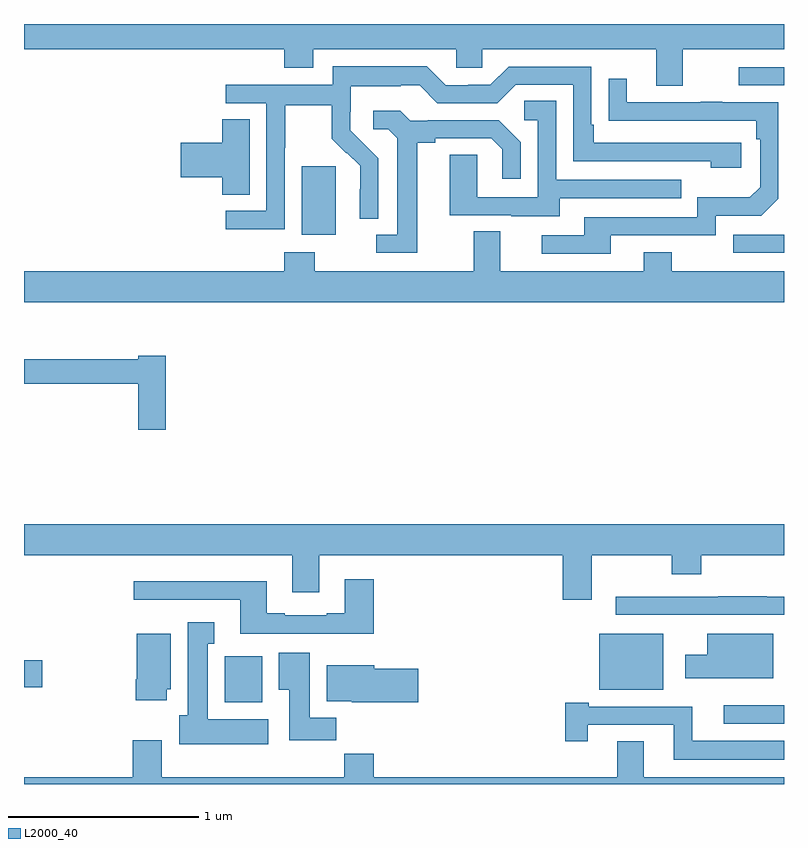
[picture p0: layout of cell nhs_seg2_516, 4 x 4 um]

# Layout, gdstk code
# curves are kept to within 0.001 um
import gdstk
lib = gdstk.Library(unit=1e-6, precision=1e-09)
def R(c, l, rs):  # rectangles x0, y0, x1, y1
    for r in rs: c.add(gdstk.rectangle(r[:2], r[2:], *l))
def P(c, l, *ps):  # polygons
    for p in ps: c.add(gdstk.Polygon(p, *l))
L2000_40 = (2000, 40)

nhs_seg2_516 = lib.new_cell('nhs_seg2_516')
R(nhs_seg2_516, L2000_40, [(140.682,612.117,141,612.214), (138.056,612.23,138.253,612.472), (140.027,612.296,140.365,612.592), (137,612.31,137.095,612.452), (140.733,614.595,141,614.691), (138.461,614.69,138.64,615.051), (140.763,615.477,141,615.573)])
P(nhs_seg2_516, L2000_40, [(137,615.668),(138.371,615.668),(138.371,615.569),(138.523,615.569),(138.523,615.668),(139.275,615.668),(139.275,615.57),(139.413,615.57),(139.413,615.668),(140.327,615.668),(140.327,615.474),(140.467,615.474),(140.467,615.668),(141,615.668),(141,615.8),(137,615.8)],
  [(138.372,615.148),(138.375,615.148),(138.375,615.372),(138.619,615.372),(138.619,615.197),(138.696,615.12),(138.699,615.123),(138.77,615.053),(138.77,614.93),(138.768,614.93),(138.768,614.776),(138.864,614.776),(138.864,615.094),(138.718,615.242),(138.718,615.339),(138.72,615.339),(138.72,615.473),(138.983,615.473),(138.983,615.477),(139.083,615.477),(139.176,615.384),(139.491,615.384),(139.587,615.48),(139.89,615.48),(139.89,615.078),(140.615,615.078),(140.615,615.044),(140.776,615.044),(140.776,615.174),(139.999,615.174),(139.999,615.271),(139.986,615.271),(139.986,615.576),(139.551,615.576),(139.455,615.48),(139.337,615.48),(139.337,615.477),(139.221,615.477),(139.121,615.577),(138.624,615.577),(138.624,615.48),(138.063,615.48),(138.063,615.384),(138.276,615.384),(138.276,614.817),(138.063,614.817),(138.063,614.719),(138.372,614.719)],
  [(140.089,614.688),(140.64,614.688),(140.64,614.79),(140.88,614.79),(140.97,614.88),(140.97,615.387),(140.675,615.387),(140.675,615.392),(140.563,615.392),(140.563,615.387),(140.173,615.387),(140.173,615.511),(140.077,615.511),(140.077,615.292),(140.854,615.291),(140.854,615.194),(140.874,615.194),(140.874,614.94),(140.821,614.887),(140.544,614.887),(140.544,614.784),(139.949,614.784),(139.949,614.688),(139.725,614.688),(139.725,614.592),(140.089,614.592)],
  [(139.819,614.883),(140.459,614.883),(140.459,614.979),(139.8,614.979),(139.8,615.395),(139.632,615.395),(139.632,615.294),(139.704,615.294),(139.704,614.889),(139.386,614.889),(139.386,615.113),(139.241,615.113),(139.241,614.793),(139.565,614.793),(139.565,614.789),(139.819,614.789)],
  [(139.069,615.176),(139.165,615.176),(139.165,615.198),(139.46,615.198),(139.517,615.141),(139.517,614.985),(139.614,614.985),(139.614,615.178),(139.498,615.294),(139.126,615.294),(139.126,615.291),(139.032,615.291),(138.98,615.343),(138.837,615.343),(138.837,615.246),(138.918,615.246),(138.965,615.199),(138.965,614.691),(138.855,614.691),(138.855,614.595),(139.069,614.595)],
  [(138.187,615.299),(138.044,615.299),(138.044,615.176),(137.826,615.176),(137.826,614.993),(138.044,614.993),(138.044,614.902),(138.187,614.902)],
  [(141,614.5),(140.409,614.5),(140.409,614.599),(140.261,614.599),(140.261,614.5),(139.507,614.5),(139.507,614.708),(139.367,614.708),(139.367,614.5),(138.531,614.5),(138.531,614.599),(138.371,614.599),(138.371,614.5),(137,614.5),(137,614.336),(141,614.336)],
  [(137.747,614.053),(137.6,614.053),(137.6,614.035),(137,614.035),(137,613.906),(137.6,613.906),(137.6,613.665),(137.747,613.665)],
  [(139.987,613.004),(140.41,613.004),(140.41,612.905),(140.565,612.905),(140.565,613.004),(141,613.004),(141,613.168),(137,613.168),(137,613.004),(138.413,613.004),(138.413,612.81),(138.553,612.81),(138.553,613.004),(139.835,613.004),(139.835,612.771),(139.987,612.771)],
  [(138.842,612.877),(138.689,612.877),(138.689,612.7),(138.593,612.7),(138.593,612.687),(138.373,612.687),(138.373,612.7),(138.277,612.7),(138.277,612.868),(137.577,612.868),(137.577,612.771),(138.137,612.771),(138.137,612.591),(138.601,612.591),(138.601,612.59),(138.842,612.59)],
  [(141,612.786),(140.909,612.786),(140.909,612.788),(140.653,612.788),(140.653,612.786),(140.115,612.786),(140.115,612.69),(141,612.69)],
  [(138.286,612.142),(137.968,612.142),(137.968,612.539),(138.001,612.539),(138.001,612.652),(137.861,612.652),(137.861,612.162),(137.816,612.162),(137.816,612.008),(138.286,612.008)],
  [(140.944,612.592),(140.597,612.592),(140.597,612.481),(140.48,612.481),(140.48,612.356),(140.944,612.356)],
  [(137.752,612.3),(137.773,612.3),(137.773,612.592),(137.594,612.592),(137.594,612.352),(137.587,612.352),(137.587,612.24),(137.752,612.24)],
  [(138.644,612.148),(138.505,612.148),(138.505,612.49),(138.341,612.49),(138.341,612.296),(138.395,612.296),(138.395,612.03),(138.644,612.03)],
  [(139.075,612.407),(138.844,612.407),(138.844,612.424),(138.593,612.424),(138.593,612.236),(138.726,612.236),(138.726,612.23),(139.075,612.23)],
  [(141,612.028),(140.518,612.028),(140.518,612.207),(139.972,612.207),(139.972,612.227),(139.849,612.227),(139.849,612.024),(139.966,612.024),(139.966,612.111),(140.42,612.111),(140.42,611.927),(141,611.927)],
  [(137.573,612.031),(137.573,611.836),(137,611.836),(137,611.8),(141,611.8),(141,611.836),(140.263,611.836),(140.263,612.026),(140.123,612.026),(140.123,611.836),(138.842,611.836),(138.842,611.96),(138.685,611.96),(138.685,611.836),(137.725,611.836),(137.725,612.031)])

lib.write_gds('nhs_seg2_516.gds')
